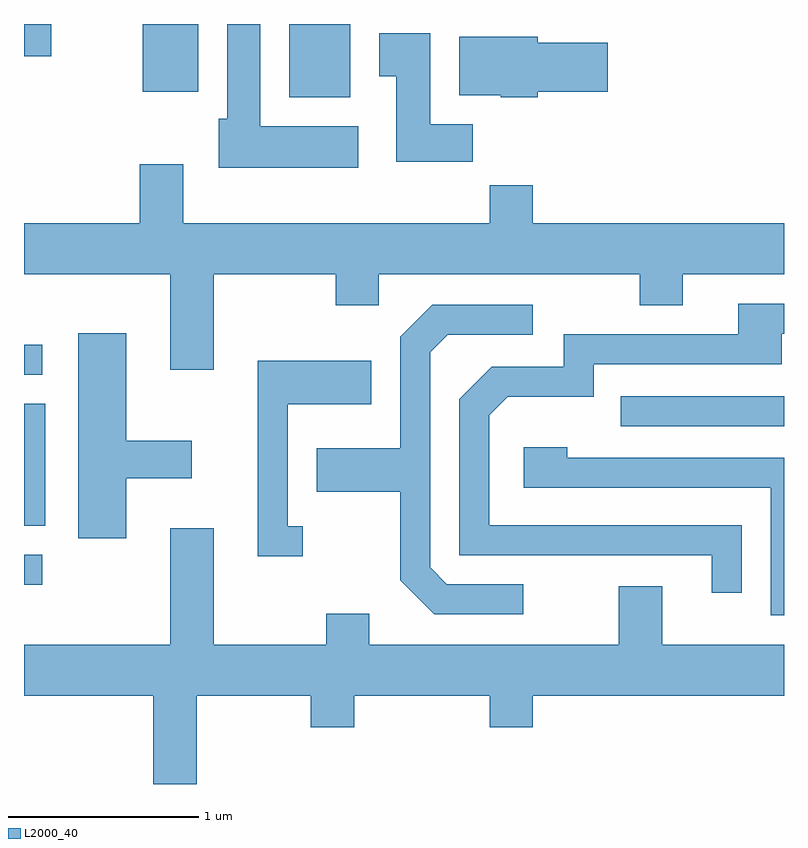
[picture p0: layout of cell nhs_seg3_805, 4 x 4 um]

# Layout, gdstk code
import gdstk
lib = gdstk.Library(unit=1e-6, precision=1e-09)
def R(c, l, rs):  # rectangles x0, y0, x1, y1
    for r in rs: c.add(gdstk.rectangle(r[:2], r[2:], *l))
def P(c, l, *ps):  # polygons
    for p in ps: c.add(gdstk.Polygon(p, *l))
L2000_40 = (2000, 40)

nhs_seg3_805 = lib.new_cell('nhs_seg3_805')
R(nhs_seg3_805, L2000_40, [(207.611,1230.941,207.708,1231.099), (207.611,1231.251,207.724,1231.894), (210.753,1231.776,211.611,1231.934), (207.611,1232.046,207.708,1232.204), (209.006,1233.506,209.329,1233.892), (208.236,1233.536,208.529,1233.892), (207.611,1233.721,207.754,1233.892)])
P(nhs_seg3_805, L2000_40, [(209.369,1233.354),(208.854,1233.354),(208.854,1233.892),(208.681,1233.892),(208.681,1233.394),(208.636,1233.394),(208.636,1233.136),(209.369,1233.136)],
  [(209.974,1233.364),(209.749,1233.364),(209.749,1233.844),(209.481,1233.844),(209.481,1233.616),(209.571,1233.616),(209.571,1233.166),(209.974,1233.166)],
  [(210.314,1233.536),(210.684,1233.536),(210.684,1233.794),(210.314,1233.794),(210.314,1233.824),(209.901,1233.824),(209.901,1233.516),(210.12,1233.516),(210.12,1233.506),(210.314,1233.506)],
  [(208.609,1232.576),(209.251,1232.576),(209.251,1232.411),(209.479,1232.411),(209.479,1232.576),(210.851,1232.576),(210.851,1232.411),(211.079,1232.411),(211.079,1232.576),(211.611,1232.576),(211.611,1232.844),(210.289,1232.844),(210.289,1233.044),(210.061,1233.044),(210.061,1232.844),(208.449,1232.844),(208.449,1233.154),(208.221,1233.154),(208.221,1232.844),(207.611,1232.844),(207.611,1232.576),(208.381,1232.576),(208.381,1232.071),(208.609,1232.071)],
  [(211.389,1231.254),(210.059,1231.254),(210.059,1231.834),(210.157,1231.931),(210.609,1231.931),(210.609,1232.101),(211.599,1232.101),(211.599,1232.261),(211.611,1232.261),(211.611,1232.419),(211.371,1232.419),(211.371,1232.259),(210.451,1232.259),(210.451,1232.089),(210.074,1232.089),(209.901,1231.917),(209.901,1231.096),(211.231,1231.096),(211.231,1230.898),(211.389,1230.898)],
  [(210.238,1230.944),(209.837,1230.944),(209.749,1231.032),(209.749,1232.164),(209.842,1232.256),(210.288,1232.256),(210.288,1232.414),(209.759,1232.414),(209.591,1232.247),(209.591,1231.659),(209.151,1231.659),(209.151,1231.431),(209.591,1231.431),(209.591,1230.964),(209.769,1230.786),(210.238,1230.786)],
  [(208.149,1231.501),(208.494,1231.501),(208.494,1231.699),(208.149,1231.699),(208.149,1232.264),(207.896,1232.264),(207.896,1231.186),(208.149,1231.186)],
  [(209.078,1231.249),(208.999,1231.249),(208.999,1231.891),(209.439,1231.891),(209.439,1232.119),(208.841,1232.119),(208.841,1231.091),(209.078,1231.091)],
  [(211.611,1231.609),(210.469,1231.609),(210.469,1231.664),(210.241,1231.664),(210.241,1231.451),(211.541,1231.451),(211.541,1230.781),(211.611,1230.781)],
  [(208.519,1230.356),(209.121,1230.356),(209.121,1230.191),(209.349,1230.191),(209.349,1230.356),(210.061,1230.356),(210.061,1230.191),(210.289,1230.191),(210.289,1230.356),(211.611,1230.356),(211.611,1230.624),(210.969,1230.624),(210.969,1230.934),(210.741,1230.934),(210.741,1230.624),(209.429,1230.624),(209.429,1230.789),(209.201,1230.789),(209.201,1230.624),(208.609,1230.624),(208.609,1231.239),(208.381,1231.239),(208.381,1230.624),(207.611,1230.624),(207.611,1230.356),(208.291,1230.356),(208.291,1229.892),(208.519,1229.892)])

lib.write_gds('nhs_seg3_805.gds')
